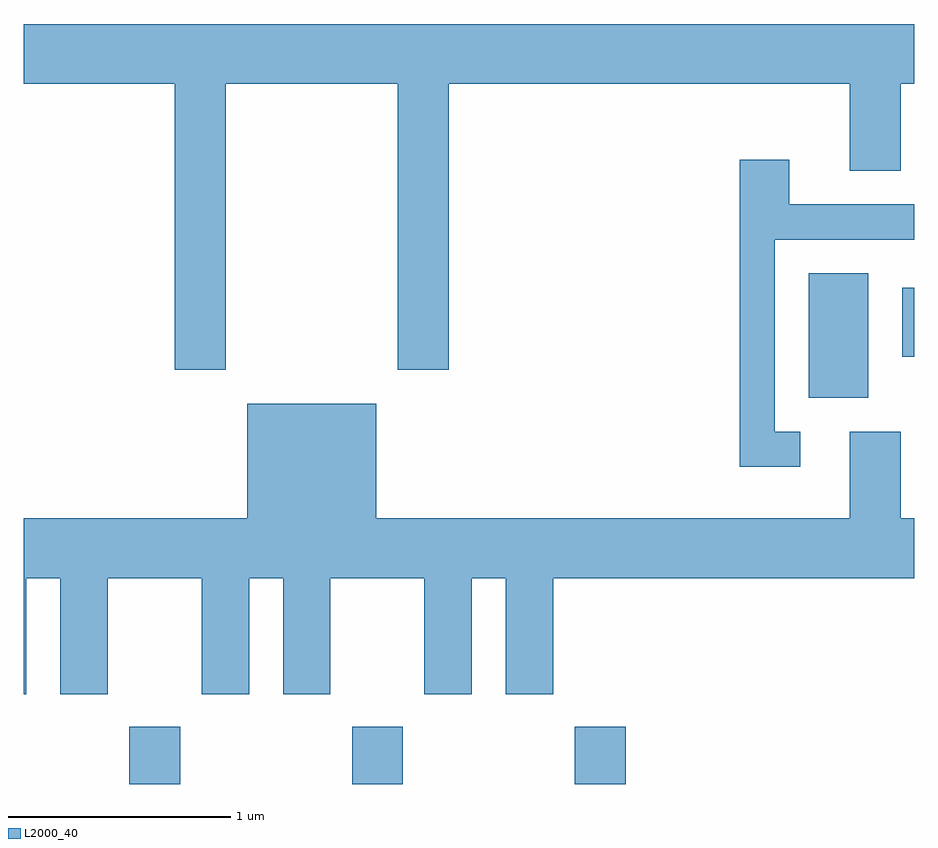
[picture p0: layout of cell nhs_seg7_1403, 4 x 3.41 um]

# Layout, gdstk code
import gdstk
lib = gdstk.Library(unit=1e-6, precision=1e-09)
def R(c, l, rs):  # rectangles x0, y0, x1, y1
    for r in rs: c.add(gdstk.rectangle(r[:2], r[2:], *l))
def A(c, l, x, y, w, h, nx, ny, dx, dy):  # array of equal rectangles
    R(c, l, [(x+i*dx, y+j*dy, x+i*dx+w, y+j*dy+h) for i in range(nx) for j in range(ny)])
def P(c, l, *ps):  # polygons
    for p in ps: c.add(gdstk.Polygon(p, *l))
L2000_40 = (2000, 40)

nhs_seg7_1403 = lib.new_cell('nhs_seg7_1403')
A(nhs_seg7_1403, L2000_40, 228.086, 1742.252, 0.228, 0.257, 3, 1, 1, 0)
R(nhs_seg7_1403, L2000_40, [(231.136,1743.986,231.404,1744.544), (231.556,1744.171,231.611,1744.479)])
P(nhs_seg7_1403, L2000_40, [(228.519,1745.396),(229.291,1745.396),(229.291,1744.111),(229.519,1744.111),(229.519,1745.396),(231.321,1745.396),(231.321,1745.006),(231.549,1745.006),(231.549,1745.396),(231.611,1745.396),(231.611,1745.664),(227.611,1745.664),(227.611,1745.396),(228.291,1745.396),(228.291,1744.111),(228.519,1744.111)],
  [(231.098,1743.834),(230.984,1743.834),(230.984,1744.696),(231.611,1744.696),(231.611,1744.854),(231.049,1744.854),(231.049,1745.054),(230.826,1745.054),(230.826,1743.676),(231.098,1743.676)],
  [(227.624,1743.176),(227.776,1743.176),(227.776,1742.656),(227.989,1742.656),(227.989,1743.176),(228.411,1743.176),(228.411,1742.656),(228.624,1742.656),(228.624,1743.176),(228.776,1743.176),(228.776,1742.656),(228.989,1742.656),(228.989,1743.176),(229.411,1743.176),(229.411,1742.656),(229.624,1742.656),(229.624,1743.176),(229.776,1743.176),(229.776,1742.656),(229.989,1742.656),(229.989,1743.176),(231.611,1743.176),(231.611,1743.444),(231.549,1743.444),(231.549,1743.834),(231.321,1743.834),(231.321,1743.444),(229.194,1743.444),(229.194,1743.959),(228.616,1743.959),(228.616,1743.444),(227.611,1743.444),(227.611,1742.656),(227.624,1742.656)])

lib.write_gds('nhs_seg7_1403.gds')
